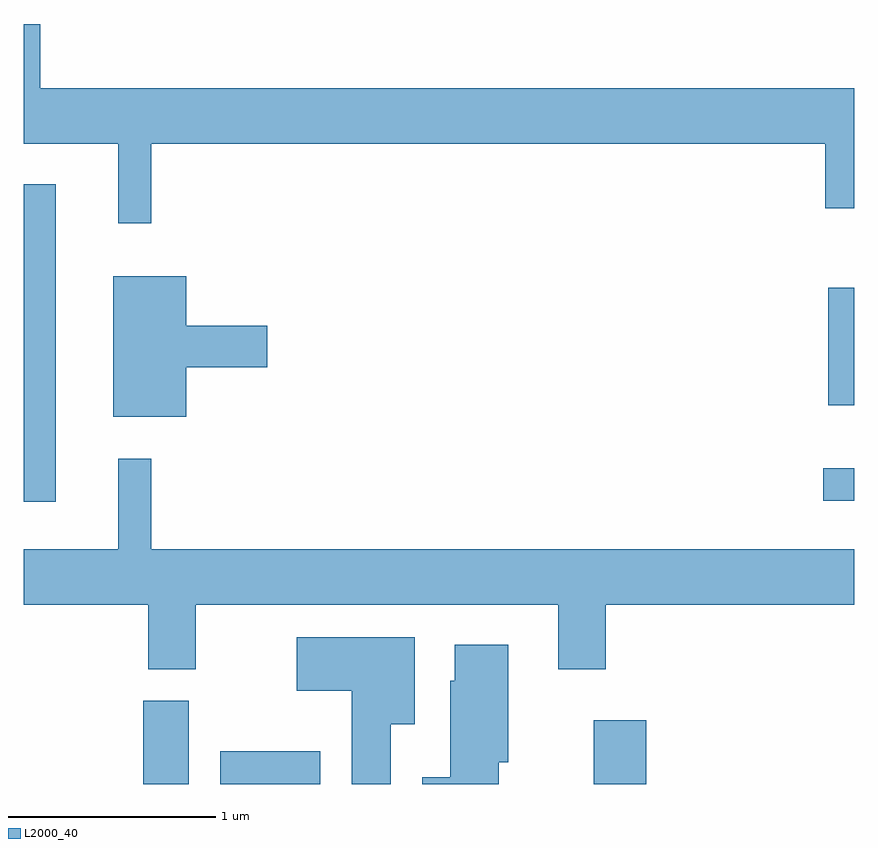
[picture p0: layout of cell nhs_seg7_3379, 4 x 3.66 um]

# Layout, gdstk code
import gdstk
lib = gdstk.Library(unit=1e-6, precision=1e-09)
def R(c, l, rs):  # rectangles x0, y0, x1, y1
    for r in rs: c.add(gdstk.rectangle(r[:2], r[2:], *l))
def P(c, l, *ps):  # polygons
    for p in ps: c.add(gdstk.Polygon(p, *l))
L2000_40 = (2000, 40)

nhs_seg7_3379 = lib.new_cell('nhs_seg7_3379')
R(nhs_seg7_3379, L2000_40, [(288.186,1802.252,288.404,1802.654), (288.556,1802.252,289.039,1802.409), (290.356,1802.252,290.609,1802.559), (287.611,1803.611,287.764,1805.143), (291.463,1803.616,291.611,1803.774), (291.486,1804.076,291.611,1804.644)])
P(nhs_seg7_3379, L2000_40, [(288.224,1805.336),(291.471,1805.336),(291.471,1805.026),(291.611,1805.026),(291.611,1805.604),(287.689,1805.604),(287.689,1805.914),(287.611,1805.914),(287.611,1805.336),(288.066,1805.336),(288.066,1804.953),(288.224,1804.953)],
  [(288.394,1804.261),(288.784,1804.261),(288.784,1804.459),(288.394,1804.459),(288.394,1804.699),(288.041,1804.699),(288.041,1804.021),(288.394,1804.021)],
  [(288.439,1803.116),(290.186,1803.116),(290.186,1802.806),(290.414,1802.806),(290.414,1803.116),(291.611,1803.116),(291.611,1803.384),(288.224,1803.384),(288.224,1803.818),(288.066,1803.818),(288.066,1803.384),(287.611,1803.384),(287.611,1803.116),(288.211,1803.116),(288.211,1802.806),(288.439,1802.806)],
  [(289.379,1802.541),(289.494,1802.541),(289.494,1802.959),(288.926,1802.959),(288.926,1802.701),(289.191,1802.701),(289.191,1802.252),(289.379,1802.252)],
  [(289.899,1802.356),(289.944,1802.356),(289.944,1802.924),(289.686,1802.924),(289.686,1802.749),(289.666,1802.749),(289.666,1802.284),(289.531,1802.284),(289.531,1802.252),(289.899,1802.252)])

lib.write_gds('nhs_seg7_3379.gds')
